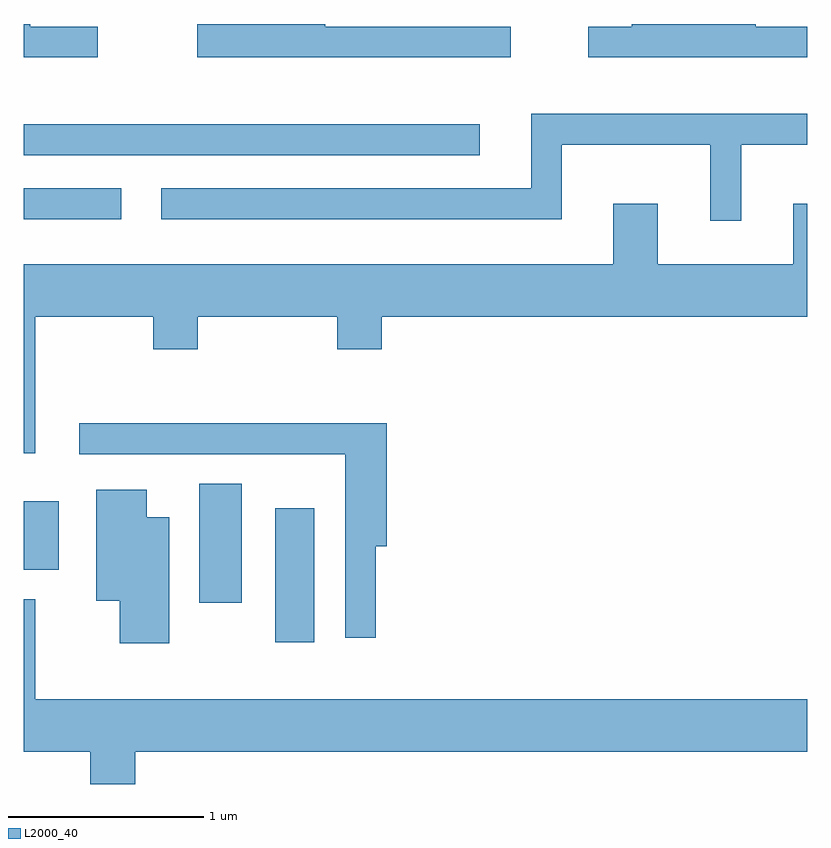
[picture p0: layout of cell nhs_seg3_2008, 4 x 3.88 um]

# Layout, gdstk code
import gdstk
lib = gdstk.Library(unit=1e-6, precision=1e-09)
def R(c, l, rs):  # rectangles x0, y0, x1, y1
    for r in rs: c.add(gdstk.rectangle(r[:2], r[2:], *l))
def P(c, l, *ps):  # polygons
    for p in ps: c.add(gdstk.Polygon(p, *l))
L2000_40 = (2000, 40)

nhs_seg3_2008 = lib.new_cell('nhs_seg3_2008')
R(nhs_seg3_2008, L2000_40, [(244.896,1188.736,245.094,1189.419), (244.506,1188.936,244.724,1189.544), (243.611,1189.106,243.789,1189.454), (243.611,1190.896,244.108,1191.054), (243.611,1191.221,245.938,1191.379)])
P(nhs_seg3_2008, L2000_40, [(243.988,1191.879),(243.644,1191.879),(243.644,1191.892),(243.611,1191.892),(243.611,1191.721),(243.988,1191.721)],
  [(246.098,1191.879),(245.149,1191.879),(245.149,1191.892),(244.496,1191.892),(244.496,1191.721),(246.098,1191.721)],
  [(247.611,1191.879),(247.349,1191.879),(247.349,1191.892),(246.716,1191.892),(246.716,1191.879),(246.493,1191.879),(246.493,1191.721),(247.611,1191.721)],
  [(247.274,1191.276),(247.611,1191.276),(247.611,1191.434),(246.201,1191.434),(246.201,1191.054),(244.313,1191.054),(244.313,1190.896),(246.359,1190.896),(246.359,1191.276),(247.116,1191.276),(247.116,1190.888),(247.274,1190.888)],
  [(243.669,1190.396),(244.271,1190.396),(244.271,1190.231),(244.499,1190.231),(244.499,1190.396),(245.211,1190.396),(245.211,1190.231),(245.439,1190.231),(245.439,1190.396),(247.611,1190.396),(247.611,1190.974),(247.541,1190.974),(247.541,1190.664),(246.849,1190.664),(246.849,1190.974),(246.621,1190.974),(246.621,1190.664),(243.611,1190.664),(243.611,1189.701),(243.669,1189.701)],
  [(245.409,1189.226),(245.464,1189.226),(245.464,1189.854),(243.893,1189.854),(243.893,1189.696),(245.251,1189.696),(245.251,1188.758),(245.409,1188.758)],
  [(244.354,1189.374),(244.239,1189.374),(244.239,1189.514),(243.981,1189.514),(243.981,1188.946),(244.101,1188.946),(244.101,1188.731),(244.354,1188.731)],
  [(244.179,1188.176),(247.611,1188.176),(247.611,1188.444),(243.669,1188.444),(243.669,1188.954),(243.611,1188.954),(243.611,1188.176),(243.951,1188.176),(243.951,1188.011),(244.179,1188.011)])

lib.write_gds('nhs_seg3_2008.gds')
